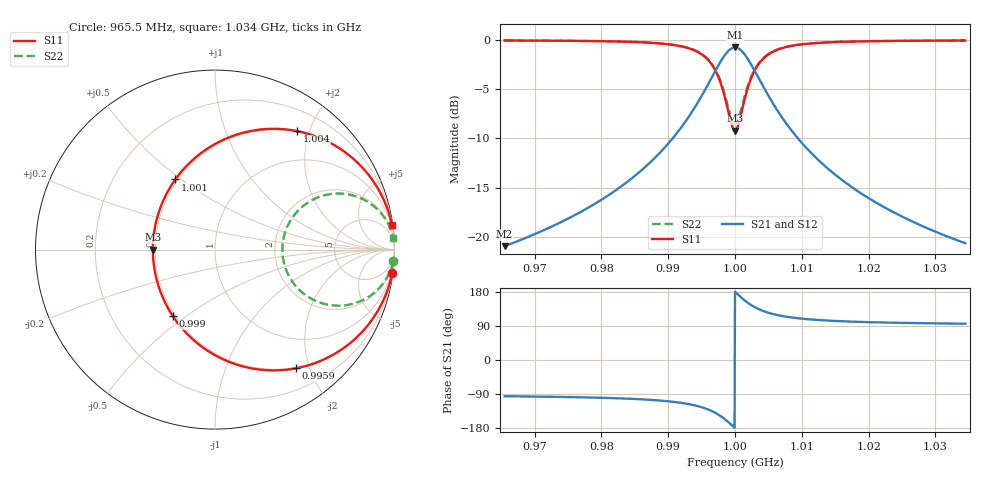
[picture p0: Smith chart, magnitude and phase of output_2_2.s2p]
! File generated for n1 = 2, n2 = 2
! b1 = 46.415888
! b2 = 21.544347
! Q0 = 10000.000000
! f0 = 1000000000.000000
! n = 1001
! rel_span = 10.000000
# Hz S RI R 50
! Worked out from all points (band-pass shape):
!   1001 points, 965.5 MHz to 1.034 GHz, reference 50 ohm
!   highest |S21| = -0.75 dB at 1 GHz (marker M1); lowest = -20.9 dB at 965.5 MHz (marker M2)
!   |S21| within 3 dB of the highest: 996.6 MHz to 1.003 GHz (6.88 MHz wide, 0.688 % of centre)
!   lowest |S11| = -9.2 dB at 1 GHz (marker M3), VSWR 2.06, Z = 24.3 + j0 ohm
!   |S11| at or under -10 dB: nowhere
!   |S22| runs from -8.5 to 0.0 dB; largest |S21 - S12| = 0
!   S11 on the Smith chart (normalised r, x): 965.5 MHz: 0, -15; 995.9 MHz: 0.49, -1.79; 999 MHz: 0.49, -0.45; 1.001 GHz: 0.49, +0.48; 1.004 GHz: 0.49, +1.81; 1.034 GHz: 0, +15
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9.655199e8  0.9871 -0.131  -0.00877 -0.0892  -0.00877 -0.0892  0.994 -0.0608
9.770362e8  0.971 -0.1955  -0.0198 -0.1332  -0.0198 -0.1332  0.9865 -0.0907
9.835875e8  0.944 -0.2688  -0.0382 -0.1831  -0.0382 -0.1831  0.974 -0.1248
9.885526e8  0.8892 -0.37  -0.0755 -0.252  -0.0755 -0.252  0.9486 -0.1717
9.929661e8  0.7407 -0.5309  -0.1767 -0.3617  -0.1767 -0.3617  0.8796 -0.2464
9.945521e8  0.6165 -0.6076  -0.2613 -0.414  -0.2613 -0.414  0.822 -0.282
9.958624e8  0.4496 -0.6618  -0.375 -0.4509  -0.375 -0.4509  0.7445 -0.3072
9.975864e8  0.0973 -0.6327  -0.615 -0.431  -0.615 -0.431  0.581 -0.2937
9.98276e8  -0.0766 -0.5387  -0.7335 -0.367  -0.7335 -0.367  0.5003 -0.2501
9.989656e8  -0.2349 -0.3707  -0.8413 -0.2525  -0.8413 -0.2525  0.4268 -0.172
1e9  -0.3462 0  -0.9171 0  -0.9171 0  0.3752 0
1.000552e9  -0.3126 0.21  -0.8943 0.143  -0.8943 0.143  0.3908 0.0975
1.001103e9  -0.2212 0.3906  -0.832 0.2661  -0.832 0.2661  0.4331 0.1813
1.001724e9  -0.0773 0.5382  -0.734 0.3667  -0.734 0.3667  0.5 0.2498
1.002414e9  0.0958 0.6322  -0.616 0.4307  -0.616 0.4307  0.5803 0.2934
1.003172e9  0.2699 0.6707  -0.4974 0.4569  -0.4974 0.4569  0.6611 0.3113
1.004207e9  0.4577 0.6603  -0.3695 0.4498  -0.3695 0.4498  0.7483 0.3065
1.005517e9  0.6204 0.6057  -0.2586 0.4127  -0.2586 0.4127  0.8238 0.2812
1.007103e9  0.7418 0.53  -0.1759 0.3611  -0.1759 0.3611  0.8802 0.246
1.011516e9  0.8881 0.3717  -0.0762 0.2532  -0.0762 0.2532  0.9481 0.1725
1.023033e9  0.9698 0.1992  -0.0206 0.1357  -0.0206 0.1357  0.986 0.0925
1.03448e9  0.9862 0.1355  -0.00939 0.0923  -0.00939 0.0923  0.9936 0.0629
